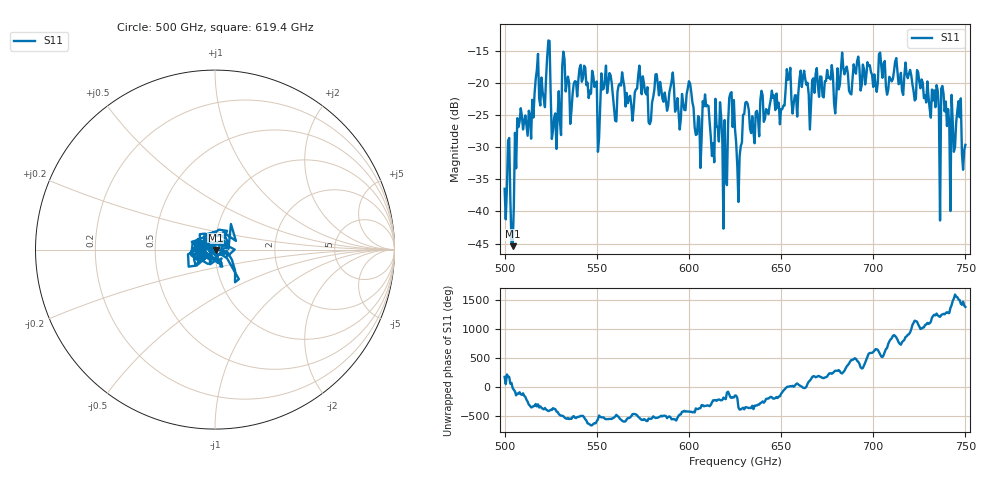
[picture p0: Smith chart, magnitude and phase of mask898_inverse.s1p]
!Created with skrf (http://scikit-rf.org).
# GHz S MA R 50.0
!freq magS11 angS11
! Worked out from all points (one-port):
!   401 points, 500 GHz to 750 GHz, reference 50 ohm
!   lowest |S11| = -45.4 dB at 504.4 GHz (marker M1), VSWR 1.01, Z = 50.5 - j0.189 ohm
!   |S11| at or under -10 dB: start of sweep to end of sweep
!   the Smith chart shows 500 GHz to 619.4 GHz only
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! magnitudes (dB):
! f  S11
! 500 GHz  -36.5
! 504.4 GHz  -45.4
! 508.1 GHz  -26.1
! 523.8 GHz  -13.4
! 526.9 GHz  -25.4
! 531.2 GHz  -17.4
! 548.8 GHz  -20.6
! 550.6 GHz  -30.7
! 562.5 GHz  -20.1
! 593.8 GHz  -22.4
! 600 GHz  -19.8
! 605.6 GHz  -25.6
! 609.4 GHz  -23.7
! 612.5 GHz  -31.4
! 616.9 GHz  -23.0
! 619.4 GHz  -25.8
! 623.1 GHz  -21.4
! 625 GHz  -27.2
! 627.5 GHz  -31.4
! 630.6 GHz  -23.1
! 656.2 GHz  -24.8
! 687.5 GHz  -21.6
! 718.8 GHz  -19.3
! 735 GHz  -21.2
! 738.1 GHz  -21.7
! 743.1 GHz  -26.0
! 746.2 GHz  -22.9
! 750 GHz  -29.6
